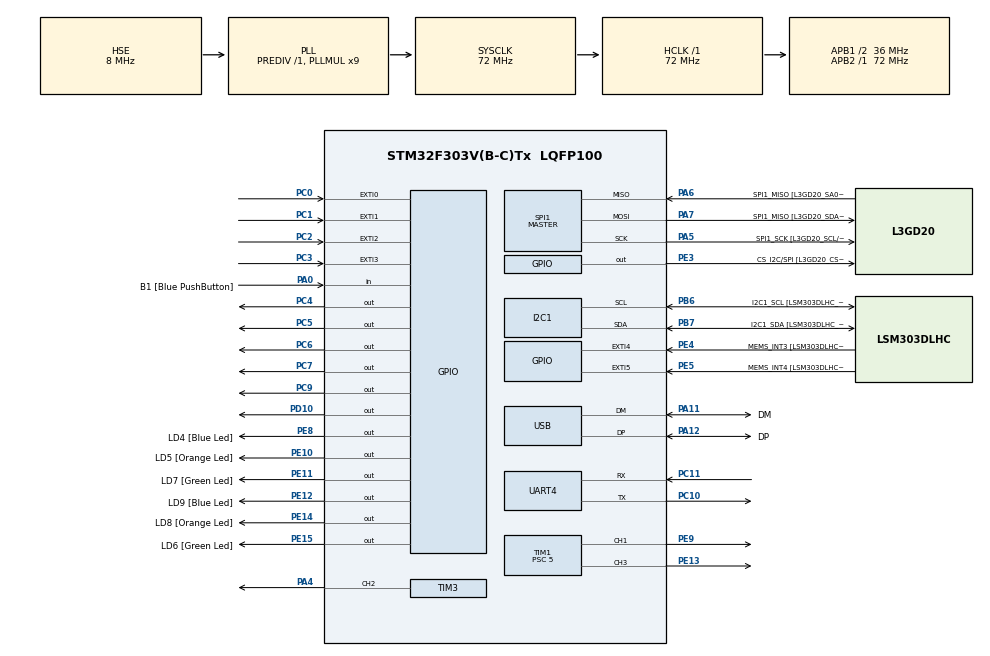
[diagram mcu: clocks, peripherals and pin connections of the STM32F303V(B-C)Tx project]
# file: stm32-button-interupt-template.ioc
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I2C1.Timing-I2C=0x2000090E
Mcu.Family=STM32F3
Mcu.Name=STM32F303V(B-C)Tx
Mcu.Package=LQFP100
NVIC.EXTI0_IRQn=true\:0\:1\:true\:false\:true\:true\:true\:true
NVIC.EXTI1_IRQn=true\:0\:2\:false\:false\:true\:true\:true\:true
NVIC.EXTI3_IRQn=true\:0\:5\:false\:false\:true\:true\:true\:true
NVIC.PriorityGroup=NVIC_PRIORITYGROUP_0
PA0.GPIO_Label=B1 [Blue PushButton]
PA0.Signal=GPIO_Input
PA11.GPIO_Label=DM
PA11.Mode=Device
PA11.Signal=USB_DM
PA12.GPIO_Label=DP
PA12.Mode=Device
PA12.Signal=USB_DP
PA13.GPIO_Label=SWDIO
PA13.Mode=Serial_Wire
PA13.Signal=SYS_JTMS-SWDIO
PA14.GPIO_Label=SWCLK
PA14.Mode=Serial_Wire
PA14.Signal=SYS_JTCK-SWCLK
PA4.Signal=S_TIM3_CH2
PA5.GPIO_Label=SPI1_SCK [L3GD20_SCL/SPC]
PA5.Mode=Full_Duplex_Master
PA5.Signal=SPI1_SCK
PA6.GPIO_Label=SPI1_MISO [L3GD20_SA0/SDO]
PA6.Mode=Full_Duplex_Master
PA6.Signal=SPI1_MISO
PA7.GPIO_Label=SPI1_MISO [L3GD20_SDA/SDI/SDO]
PA7.Mode=Full_Duplex_Master
PA7.Signal=SPI1_MOSI
PB3.GPIO_Label=SWO
PB3.Signal=SYS_JTDO-TRACESWO
PB6.GPIO_Label=I2C1_SCL [LSM303DLHC_SCL]
PB6.GPIO_Pu=GPIO_PULLUP
PB6.Mode=I2C
PB6.Signal=I2C1_SCL
PB7.GPIO_Label=I2C1_SDA [LSM303DLHC_SDA]
PB7.GPIO_Pu=GPIO_PULLUP
PB7.Mode=I2C
PB7.Signal=I2C1_SDA
PC0.GPIO_ModeDefaultEXTI=GPIO_MODE_IT_RISING
PC0.GPIO_PuPd=GPIO_PULLDOWN
PC0.Signal=GPXTI0
PC1.GPIO_ModeDefaultEXTI=GPIO_MODE_IT_RISING
PC1.GPIO_PuPd=GPIO_PULLDOWN
PC1.Signal=GPXTI1
PC10.Mode=Asynchronous
PC10.Signal=UART4_TX
PC11.Mode=Asynchronous
PC11.Signal=UART4_RX
PC14-OSC32_IN.GPIO_Label=OSC32_IN
PC14-OSC32_IN.Signal=RCC_OSC32_IN
PC15-OSC32_OUT.GPIO_Label=OSC32_OUT
PC15-OSC32_OUT.Signal=RCC_OSC32_OUT
PC2.GPIO_ModeDefaultEXTI=GPIO_MODE_IT_RISING
PC2.GPIO_PuPd=GPIO_PULLDOWN
PC2.Signal=GPXTI2
PC3.GPIO_ModeDefaultEXTI=GPIO_MODE_IT_RISING
PC3.GPIO_PuPd=GPIO_PULLDOWN
PC3.Signal=GPXTI3
PC4.PinState=GPIO_PIN_SET
PC4.Signal=GPIO_Output
PC5.PinState=GPIO_PIN_SET
PC5.Signal=GPIO_Output
PC6.PinState=GPIO_PIN_SET
PC6.Signal=GPIO_Output
PC7.PinState=GPIO_PIN_SET
PC7.Signal=GPIO_Output
PC9.Signal=GPIO_Output
PD10.GPIO_ModeDefaultOutputPP=GPIO_MODE_OUTPUT_OD
PD10.GPIO_PuPd=GPIO_NOPULL
PD10.PinState=GPIO_PIN_SET
PD10.Signal=GPIO_Output
PE10.GPIO_Label=LD5 [Orange Led]
PE10.Signal=GPIO_Output
PE11.GPIO_Label=LD7 [Green Led]
PE11.Signal=GPIO_Output
PE12.GPIO_Label=LD9 [Blue Led]
PE12.Signal=GPIO_Output
PE13.Signal=S_TIM1_CH3
PE14.GPIO_Label=LD8 [Orange Led]
PE14.Signal=GPIO_Output
PE15.GPIO_Label=LD6 [Green Led]
PE15.Signal=GPIO_Output
PE3.GPIO_Label=CS_I2C/SPI [L3GD20_CS_I2C/SPI]
PE3.Signal=GPIO_Output
PE4.GPIO_Label=MEMS_INT3 [LSM303DLHC_INT1]
PE4.GPIO_ModeDefaultEXTI=GPIO_MODE_EVT_RISING
PE4.Signal=GPXTI4
PE5.GPIO_Label=MEMS_INT4 [LSM303DLHC_INT2]
PE5.GPIO_ModeDefaultEXTI=GPIO_MODE_EVT_RISING
PE5.Signal=GPXTI5
PE8.GPIO_Label=LD4 [Blue Led]
PE8.Signal=GPIO_Output
PE9.Signal=S_TIM1_CH1
PF0-OSC_IN.GPIO_Label=OSC_IN
PF0-OSC_IN.Mode=HSE-External-Clock-Source
PF0-OSC_IN.Signal=RCC_OSC_IN
PF1-OSC_OUT.GPIO_Label=OSC_OUT
PF1-OSC_OUT.Signal=RCC_OSC_OUT
ProjectManager.HeapSize=0x200
ProjectManager.StackSize=0x400
ProjectManager.TargetToolchain=STM32CubeIDE
RCC.AHBFreq_Value=72000000
RCC.APB1CLKDivider=RCC_HCLK_DIV2
RCC.APB1Freq_Value=36000000
RCC.APB1TimFreq_Value=72000000
RCC.APB2Freq_Value=72000000
RCC.APB2TimFreq_Value=72000000
RCC.CortexFreq_Value=72000000
RCC.HCLKFreq_Value=72000000
RCC.HSE_VALUE=8000000
RCC.HSI_VALUE=8000000
RCC.LSE_VALUE=32768
RCC.PLLMUL=RCC_PLL_MUL9
RCC.PRESCALERUSB=RCC_USBCLKSOURCE_PLL_DIV1_5
RCC.SYSCLKFreq_VALUE=72000000
RCC.SYSCLKSourceVirtual=RCC_SYSCLKSOURCE_PLLCLK
RCC.USBFreq_Value=48000000
SH.S_TIM1_CH1.0=TIM1_CH1,PWM Generation1 CH1
SH.S_TIM1_CH3.0=TIM1_CH3,PWM Generation3 CH3
SH.S_TIM3_CH2.0=TIM3_CH2,PWM Generation2 CH2
SPI1.Direction=SPI_DIRECTION_2LINES
SPI1.Mode=SPI_MODE_MASTER
SPI1.VirtualType=VM_MASTER
TIM1.AutoReloadPreload=TIM_AUTORELOAD_PRELOAD_ENABLE
TIM1.Channel-PWM\ Generation1\ CH1=TIM_CHANNEL_1
TIM1.Channel-PWM\ Generation3\ CH3=TIM_CHANNEL_3
TIM1.Period=999
TIM1.Prescaler=5
TIM1.Pulse-PWM\ Generation1\ CH1=200
TIM1.Pulse-PWM\ Generation3\ CH3=800
TIM3.Channel-PWM\ Generation2\ CH2=TIM_CHANNEL_2
TIM3.Period=999
TIM3.Prescaler=47
TIM3.Pulse-PWM\ Generation2\ CH2=500
board=STM32F3DISCOVERY

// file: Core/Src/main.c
/* USER CODE BEGIN Header */
/**
  ******************************************************************************
  * @file           : main.c
  * @brief          : Main program body
  ******************************************************************************
  * @attention
  *
  * Copyright (c) 2023 STMicroelectronics.
  * All rights reserved.
  *
  * This software is licensed under terms that can be found in the LICENSE file
  * in the root directory of this software component.
  * If no LICENSE file comes with this software, it is provided AS-IS.
  *
  ******************************************************************************
  */
/* USER CODE END Header */
#include "main.h"

/* USER CODE BEGIN Includes */
#include "melody_1.h"
#include "melody_2.h"
#include "melody_3.h"
#include "melody_4.h"
/* USER CODE END Includes */

I2C_HandleTypeDef hi2c1;

SPI_HandleTypeDef hspi1;

TIM_HandleTypeDef htim1;
TIM_HandleTypeDef htim3;

UART_HandleTypeDef huart4;

PCD_HandleTypeDef hpcd_USB_FS;

/* USER CODE BEGIN PV */
int timeButton = 0;
int PUSHED_BUTTON;
float BRIGHTNESS1 = 0.5;
float BRIGHTNESS2 = 0.5;
/* USER CODE END PV */

void SystemClock_Config(void);
static void MX_GPIO_Init(void);
static void MX_I2C1_Init(void);
static void MX_SPI1_Init(void);
static void MX_USB_PCD_Init(void);
static void MX_UART4_Init(void);
static void MX_TIM1_Init(void);
static void MX_TIM3_Init(void);

/* USER CODE BEGIN 0 */

#ifndef __GNUC__
#error Unknown compilator
#else
#include <unistd.h>
int _write(int fd, const void *buf, size_t count) {
int res = 0;
if (fd == STDOUT_FILENO || fd == STDERR_FILENO) {
	// write data to UART
	HAL_StatusTypeDef hal_res = HAL_UART_Transmit(&huart4, (uint8_t*) buf, count, HAL_MAX_DELAY);
	res = hal_res == HAL_OK ? count : -1;
	} else {
		res = -1;
}
	return res;
}
#endif

int findPin(uint16_t GPIO_Pin){
	int res = 0;

	uint16_t pinSet = 0;

	HAL_GPIO_WritePin(GPIOC, GPIO_PIN_4 , GPIO_PIN_RESET);
	if(HAL_GPIO_ReadPin(GPIOC, GPIO_Pin) == GPIO_PIN_RESET){
		res = 1;
		pinSet = GPIO_PIN_4;
	}
	else {
	HAL_GPIO_WritePin(GPIOC, GPIO_PIN_5 , GPIO_PIN_RESET);
	if(HAL_GPIO_ReadPin(GPIOC, GPIO_Pin) == GPIO_PIN_RESET){
		res = 2;
		pinSet = GPIO_PIN_5;
		}
		else {
		HAL_GPIO_WritePin(GPIOC, GPIO_PIN_6 , GPIO_PIN_RESET);
		if(HAL_GPIO_ReadPin(GPIOC, GPIO_Pin) == GPIO_PIN_RESET){
			res = 3;
			pinSet = GPIO_PIN_6;
			}
		else {
			HAL_GPIO_WritePin(GPIOC, GPIO_PIN_7 , GPIO_PIN_RESET);
			if(HAL_GPIO_ReadPin(GPIOC, GPIO_Pin) == GPIO_PIN_RESET){
				res = 4;
				pinSet = GPIO_PIN_7;
				}
			}
		}
	}

	HAL_GPIO_WritePin(GPIOC, GPIO_PIN_4 , GPIO_PIN_SET);
	HAL_GPIO_WritePin(GPIOC, GPIO_PIN_5 , GPIO_PIN_SET);
	HAL_GPIO_WritePin(GPIOC, GPIO_PIN_6 , GPIO_PIN_SET);
	HAL_GPIO_WritePin(GPIOC, GPIO_PIN_7 , GPIO_PIN_SET);

	return res;
}

void HAL_GPIO_EXTI_Callback(uint16_t GPIO_Pin) {
//
// Входной аргумент GPIO_Pin представляет из себябитовую
// маску с номером пина, откуда пришло прерывание.
// Его значение равно одной из следующих констант:
// - GPIO_PIN_0
// - GPIO_PIN_1
// - GPIO_PIN_2
// - GPIO_PIN_3
// Определим тип события (кнопка нажата или отпущена).
// Для этого просто считаем ее состояние.+
	if(HAL_GetTick() - timeButton < 300){
		return;
	}
	else
		timeButton = HAL_GetTick();
	uint16_t currentValue = HAL_GPIO_ReadPin(GPIOC, GPIO_Pin);
	if(currentValue == GPIO_PIN_RESET)
		return;
	//Фильтруем переходной процесс
	uint16_t newValue = 0;
	int timeout = 10;
	while(timeout > 0){
		 for(int i = 0, j = 1000; i < 1000; i++)
			j = i - 1;
		timeout--;
		if(newValue != currentValue){

		}
		else
			break;
		newValue = HAL_GPIO_ReadPin(GPIOC, GPIO_Pin);
	}

	//=====================================
	int btn_state = newValue;

	int res = 0;

	int displayNum ;
	//int displayNum = findPin(GPIO_Pin);

	switch(GPIO_Pin){
		case(GPIO_PIN_0):
			res = 0;
			break;
		case(GPIO_PIN_1):
				res = 1;
				break;
		case(GPIO_PIN_2):
				res = 2;
				break;
		case(GPIO_PIN_3):
				res = 3;
				break;
		default:
			res = -1;
			break;
	}
	int row = findPin(GPIO_Pin);
	if(!row || HAL_GPIO_ReadPin(GPIOC, GPIO_Pin) == GPIO_PIN_RESET)
		return;
    displayNum = 4*res + row;
	//HAL_GPIO_WritePin(GPIOE, 0xFF00, GPIO_PIN_RESET);
    //HAL_GPIO_WritePin(GPIOE, (uint8_t)displayNum << 8, GPIO_PIN_SET);
	char msg[64];
	char info[] = "Pressed button S";
	snprintf(msg, sizeof(msg), "%i", displayNum);
	HAL_UART_Transmit(&huart4, (uint8_t*)info, strlen(info), 10);
	HAL_UART_Transmit(&huart4, (uint8_t*)msg, strlen(msg), 10);
	HAL_UART_Transmit(&huart4, (uint8_t*)"\r\n", 2, 10);
	PUSHED_BUTTON = displayNum;
return;
}
void reload_tim(uint32_t tim_led_cnt_tick_freq, TIM_HandleTypeDef *tim_led,    uint32_t tim_led_channel, float bright){
	uint32_t arr_value;
	uint32_t cc_value;
	arr_value = tim_led_cnt_tick_freq / 2000 - 1;
	cc_value = (arr_value + 1) * bright;
	__HAL_TIM_SET_AUTORELOAD(tim_led, arr_value);
	__HAL_TIM_SET_COMPARE(tim_led, tim_led_channel, cc_value);
}
int play_melody(int num){
	int melody_length = 0;
	uint16_t *freq;
	uint32_t cc_value_3;
	uint32_t arr_value_3;
	TIM_HandleTypeDef *tim_music = &htim3;
	uint32_t tim_melody_channel = TIM_CHANNEL_2;
	uint32_t tim_led_cnt_tick_freq_3;
	uint16_t *durations;
	HAL_UART_Transmit(&huart4, "Playing\n", 8, HAL_MAX_DELAY);

	tim_led_cnt_tick_freq_3 = SystemCoreClock;
	switch (__HAL_TIM_GET_CLOCKDIVISION(tim_music)) {
		case TIM_CLOCKDIVISION_DIV1:
			tim_led_cnt_tick_freq_3 /= 1;
		   	break;
		case TIM_CLOCKDIVISION_DIV2:
			tim_led_cnt_tick_freq_3 /= 2;
			break;
		case TIM_CLOCKDIVISION_DIV4:
			tim_led_cnt_tick_freq_3 /= 4;
			break;
	   }
	tim_led_cnt_tick_freq_3 /= (tim_music->Instance->PSC + 1);
	switch(num){
	case 1:
		freq = MELODY_1_FREQUENCIES;
		durations = MELODY_1_DURATIONS;
		melody_length = MELODY_1_LEN;
		break;
	case 2:
		freq = MELODY_2_FREQUENCIES;
		durations = MELODY_2_DURATIONS;
		melody_length = MELODY_2_LEN;
		break;
	case 3:
		freq = MELODY_3_FREQUENCIES;
		durations = MELODY_3_DURATIONS;
		melody_length = MELODY_3_LEN;
		break;
	case 4:
		freq = MELODY_4_FREQUENCIES;
		durations = MELODY_4_DURATIONS;
		melody_length = MELODY_4_LEN;
		break;
	default :
		return 1;
	}
	PUSHED_BUTTON = -1;
	for(int i = 0; i < melody_length;i++){
		if(PUSHED_BUTTON > 0)
			return 1;
	    arr_value_3 = tim_led_cnt_tick_freq_3 / *(freq + i) - 1;
	    cc_value_3 = (arr_value_3 + 1) * 0.5;
	    __HAL_TIM_SET_AUTORELOAD(tim_music, arr_value_3);
	    __HAL_TIM_SET_COMPARE(tim_music, tim_melody_channel, cc_value_3);
	    HAL_Delay(*(durations + i));
	}
	return 0;
}
/* USER CODE END 0 */

int main(void)
{

  /* MCU Configuration--------------------------------------------------------*/

  /* Reset of all peripherals, Initializes the Flash interface and the Systick. */
  HAL_Init();

  /* Configure the system clock */
  SystemClock_Config();

  /* Initialize all configured peripherals */
  MX_GPIO_Init();
  MX_I2C1_Init();
  MX_SPI1_Init();
  MX_USB_PCD_Init();
  MX_UART4_Init();
  MX_TIM1_Init();
  MX_TIM3_Init();
  /* USER CODE BEGIN 2 */
  // local variable with pointer to timer struct
   TIM_HandleTypeDef *tim_led = &htim1;
   TIM_HandleTypeDef *tim_music = &htim3;
   // timer channel
   uint32_t tim_led_channel = TIM_CHANNEL_1;
   uint32_t tim_led2_channel = TIM_CHANNEL_3;
   uint32_t tim_melody_channel = TIM_CHANNEL_2;
   // timer tick frequency CNT
   uint32_t tim_led_cnt_tick_freq;
   uint32_t tim_led_cnt_tick_freq_2;
   uint32_t tim_led_cnt_tick_freq_3;
   // helper variables for timer parameters calculations
   uint32_t arr_value;
   uint32_t cc_value;
   uint32_t arr_value_2;
   uint32_t cc_value_2;
   uint32_t arr_value_3;
   uint32_t cc_value_3;
   // reset CCR register
   __HAL_TIM_SET_COMPARE(tim_led, tim_led_channel, 0);
   // run timer
   HAL_TIM_PWM_Start(tim_led, tim_led_channel);
   HAL_TIM_PWM_Start(tim_led, tim_led2_channel);

   // calculate timer tick frequency: f_tick = f_sysclcock / (CDK * (PSK + 1))
   tim_led_cnt_tick_freq = SystemCoreClock;
   switch (__HAL_TIM_GET_CLOCKDIVISION(tim_led)) {
	   case TIM_CLOCKDIVISION_DIV1:
		   tim_led_cnt_tick_freq /= 1;
	   	   break;
	   case TIM_CLOCKDIVISION_DIV2:
		   tim_led_cnt_tick_freq /= 2;
		   break;
	   case TIM_CLOCKDIVISION_DIV4:
		   tim_led_cnt_tick_freq /= 4;
		   break;
   }
   tim_led_cnt_tick_freq /= (tim_led->Instance->PSC + 1);

   tim_led_cnt_tick_freq_2 = SystemCoreClock;
   switch (__HAL_TIM_GET_CLOCKDIVISION(tim_music)) {
	   case TIM_CLOCKDIVISION_DIV1:
		   tim_led_cnt_tick_freq_2 /= 1;
	   	   break;
	   case TIM_CLOCKDIVISION_DIV2:
		   tim_led_cnt_tick_freq_2 /= 2;
		   break;
	   case TIM_CLOCKDIVISION_DIV4:
		   tim_led_cnt_tick_freq_2 /= 4;
		   break;
   }
   tim_led_cnt_tick_freq_2 /= (tim_music->Instance->PSC + 1);
   // PWM signal
    // frequency: 2000 Hz
    // duty cycle: 0.2
    arr_value = tim_led_cnt_tick_freq / 2000 - 1;
    cc_value = (arr_value + 1) * BRIGHTNESS1;
    __HAL_TIM_SET_AUTORELOAD(tim_led, arr_value);
    __HAL_TIM_SET_COMPARE(tim_led, tim_led_channel, cc_value);

    cc_value_2 = (arr_value + 1) * BRIGHTNESS2;
    __HAL_TIM_SET_AUTORELOAD(tim_led, arr_value);
    __HAL_TIM_SET_COMPARE(tim_led, tim_led2_channel, cc_value_2);

    arr_value_3 = tim_led_cnt_tick_freq_3 / 1 - 1;
    cc_value_3 = (arr_value + 1) * 0.5;
    __HAL_TIM_SET_AUTORELOAD(tim_music, arr_value_3);
    __HAL_TIM_SET_COMPARE(tim_music, tim_melody_channel, cc_value_3);

  /* USER CODE END 2 */

  /* Infinite loop */
  while (1)
  {
	  switch(PUSHED_BUTTON){
	  case 1:
		  if(BRIGHTNESS1 < 0.89){
			  BRIGHTNESS1 += 0.1;
			  reload_tim(tim_led_cnt_tick_freq, tim_led, tim_led_channel, BRIGHTNESS1);
		  }
		  break;
	  case 2:
		  if(BRIGHTNESS1 > 0.11){
			  BRIGHTNESS1 = BRIGHTNESS1 - 0.1;
			  reload_tim(tim_led_cnt_tick_freq, tim_led, tim_led_channel, BRIGHTNESS2);
		  }
		  break;
	  case 3:
		  if(BRIGHTNESS2 < 0.89){
			  BRIGHTNESS2 += 0.1;
			  reload_tim(tim_led_cnt_tick_freq_2, tim_led, tim_led2_channel, BRIGHTNESS2);
		  }
		  break;
	  case 4:
		  if(BRIGHTNESS2 > 0.21){
			  BRIGHTNESS2 = BRIGHTNESS1 - 0.1;
			  reload_tim(tim_led_cnt_tick_freq_2, tim_led, tim_led2_channel, BRIGHTNESS2);
		  }
		  break;
	  case 5:
		  if(play_melody(1))
			  continue;
		  break;
	  case 6:
		  if(play_melody(2))
			  continue;
		  break;
	  case 7:
		  if(play_melody(3))
			  continue;
		  break;
	  case 8:
		  if(play_melody(4))
			  continue;
		  break;
	  default:
		  break;
	  }
	  PUSHED_BUTTON = -1;
  }
}

void SystemClock_Config(void)
{
  RCC_OscInitTypeDef RCC_OscInitStruct = {0};
  RCC_ClkInitTypeDef RCC_ClkInitStruct = {0};
  RCC_PeriphCLKInitTypeDef PeriphClkInit = {0};

  /** Initializes the RCC Oscillators according to the specified parameters
  * in the RCC_OscInitTypeDef structure.
  */
  RCC_OscInitStruct.OscillatorType = RCC_OSCILLATORTYPE_HSI|RCC_OSCILLATORTYPE_HSE;
  RCC_OscInitStruct.HSEState = RCC_HSE_BYPASS;
  RCC_OscInitStruct.HSEPredivValue = RCC_HSE_PREDIV_DIV1;
  RCC_OscInitStruct.HSIState = RCC_HSI_ON;
  RCC_OscInitStruct.HSICalibrationValue = RCC_HSICALIBRATION_DEFAULT;
  RCC_OscInitStruct.PLL.PLLState = RCC_PLL_ON;
  RCC_OscInitStruct.PLL.PLLSource = RCC_PLLSOURCE_HSE;
  RCC_OscInitStruct.PLL.PLLMUL = RCC_PLL_MUL9;
  if (HAL_RCC_OscConfig(&RCC_OscInitStruct) != HAL_OK)
  {
    Error_Handler();
  }

  /** Initializes the CPU, AHB and APB buses clocks
  */
  RCC_ClkInitStruct.ClockType = RCC_CLOCKTYPE_HCLK|RCC_CLOCKTYPE_SYSCLK
                              |RCC_CLOCKTYPE_PCLK1|RCC_CLOCKTYPE_PCLK2;
  RCC_ClkInitStruct.SYSCLKSource = RCC_SYSCLKSOURCE_PLLCLK;
  RCC_ClkInitStruct.AHBCLKDivider = RCC_SYSCLK_DIV1;
  RCC_ClkInitStruct.APB1CLKDivider = RCC_HCLK_DIV2;
  RCC_ClkInitStruct.APB2CLKDivider = RCC_HCLK_DIV1;

  if (HAL_RCC_ClockConfig(&RCC_ClkInitStruct, FLASH_LATENCY_2) != HAL_OK)
  {
    Error_Handler();
  }
  PeriphClkInit.PeriphClockSelection = RCC_PERIPHCLK_USB|RCC_PERIPHCLK_UART4
                              |RCC_PERIPHCLK_I2C1|RCC_PERIPHCLK_TIM1;
  PeriphClkInit.Uart4ClockSelection = RCC_UART4CLKSOURCE_PCLK1;
  PeriphClkInit.I2c1ClockSelection = RCC_I2C1CLKSOURCE_HSI;
  PeriphClkInit.USBClockSelection = RCC_USBCLKSOURCE_PLL_DIV1_5;
  PeriphClkInit.Tim1ClockSelection = RCC_TIM1CLK_HCLK;
  if (HAL_RCCEx_PeriphCLKConfig(&PeriphClkInit) != HAL_OK)
  {
    Error_Handler();
  }
}

static void MX_I2C1_Init(void)
{

  hi2c1.Instance = I2C1;
  hi2c1.Init.Timing = 0x2000090E;
  hi2c1.Init.OwnAddress1 = 0;
  hi2c1.Init.AddressingMode = I2C_ADDRESSINGMODE_7BIT;
  hi2c1.Init.DualAddressMode = I2C_DUALADDRESS_DISABLE;
  hi2c1.Init.OwnAddress2 = 0;
  hi2c1.Init.OwnAddress2Masks = I2C_OA2_NOMASK;
  hi2c1.Init.GeneralCallMode = I2C_GENERALCALL_DISABLE;
  hi2c1.Init.NoStretchMode = I2C_NOSTRETCH_DISABLE;
  if (HAL_I2C_Init(&hi2c1) != HAL_OK)
  {
    Error_Handler();
  }

  /** Configure Analogue filter
  */
  if (HAL_I2CEx_ConfigAnalogFilter(&hi2c1, I2C_ANALOGFILTER_ENABLE) != HAL_OK)
  {
    Error_Handler();
  }

  /** Configure Digital filter
  */
  if (HAL_I2CEx_ConfigDigitalFilter(&hi2c1, 0) != HAL_OK)
  {
    Error_Handler();
  }

}

static void MX_SPI1_Init(void)
{

  /* SPI1 parameter configuration*/
  hspi1.Instance = SPI1;
  hspi1.Init.Mode = SPI_MODE_MASTER;
  hspi1.Init.Direction = SPI_DIRECTION_2LINES;
  hspi1.Init.DataSize = SPI_DATASIZE_4BIT;
  hspi1.Init.CLKPolarity = SPI_POLARITY_LOW;
  hspi1.Init.CLKPhase = SPI_PHASE_1EDGE;
  hspi1.Init.NSS = SPI_NSS_SOFT;
  hspi1.Init.BaudRatePrescaler = SPI_BAUDRATEPRESCALER_2;
  hspi1.Init.FirstBit = SPI_FIRSTBIT_MSB;
  hspi1.Init.TIMode = SPI_TIMODE_DISABLE;
  hspi1.Init.CRCCalculation = SPI_CRCCALCULATION_DISABLE;
  hspi1.Init.CRCPolynomial = 7;
  hspi1.Init.CRCLength = SPI_CRC_LENGTH_DATASIZE;
  hspi1.Init.NSSPMode = SPI_NSS_PULSE_ENABLE;
  if (HAL_SPI_Init(&hspi1) != HAL_OK)
  {
    Error_Handler();
  }

}

static void MX_TIM1_Init(void)
{

  TIM_MasterConfigTypeDef sMasterConfig = {0};
  TIM_OC_InitTypeDef sConfigOC = {0};
  TIM_BreakDeadTimeConfigTypeDef sBreakDeadTimeConfig = {0};

  htim1.Instance = TIM1;
  htim1.Init.Prescaler = 5;
  htim1.Init.CounterMode = TIM_COUNTERMODE_UP;
  htim1.Init.Period = 999;
  htim1.Init.ClockDivision = TIM_CLOCKDIVISION_DIV1;
  htim1.Init.RepetitionCounter = 0;
  htim1.Init.AutoReloadPreload = TIM_AUTORELOAD_PRELOAD_ENABLE;
  if (HAL_TIM_PWM_Init(&htim1) != HAL_OK)
  {
    Error_Handler();
  }
  sMasterConfig.MasterOutputTrigger = TIM_TRGO_RESET;
  sMasterConfig.MasterOutputTrigger2 = TIM_TRGO2_RESET;
  sMasterConfig.MasterSlaveMode = TIM_MASTERSLAVEMODE_DISABLE;
  if (HAL_TIMEx_MasterConfigSynchronization(&htim1, &sMasterConfig) != HAL_OK)
  {
    Error_Handler();
  }
  sConfigOC.OCMode = TIM_OCMODE_PWM1;
  sConfigOC.Pulse = 200;
  sConfigOC.OCPolarity = TIM_OCPOLARITY_HIGH;
  sConfigOC.OCNPolarity = TIM_OCNPOLARITY_HIGH;
  sConfigOC.OCFastMode = TIM_OCFAST_DISABLE;
  sConfigOC.OCIdleState = TIM_OCIDLESTATE_RESET;
  sConfigOC.OCNIdleState = TIM_OCNIDLESTATE_RESET;
  if (HAL_TIM_PWM_ConfigChannel(&htim1, &sConfigOC, TIM_CHANNEL_1) != HAL_OK)
  {
    Error_Handler();
  }
  sConfigOC.Pulse = 800;
  if (HAL_TIM_PWM_ConfigChannel(&htim1, &sConfigOC, TIM_CHANNEL_3) != HAL_OK)
  {
    Error_Handler();
  }
  sBreakDeadTimeConfig.OffStateRunMode = TIM_OSSR_DISABLE;
  sBreakDeadTimeConfig.OffStateIDLEMode = TIM_OSSI_DISABLE;
  sBreakDeadTimeConfig.LockLevel = TIM_LOCKLEVEL_OFF;
  sBreakDeadTimeConfig.DeadTime = 0;
  sBreakDeadTimeConfig.BreakState = TIM_BREAK_DISABLE;
  sBreakDeadTimeConfig.BreakPolarity = TIM_BREAKPOLARITY_HIGH;
  sBreakDeadTimeConfig.BreakFilter = 0;
  sBreakDeadTimeConfig.Break2State = TIM_BREAK2_DISABLE;
  sBreakDeadTimeConfig.Break2Polarity = TIM_BREAK2POLARITY_HIGH;
  sBreakDeadTimeConfig.Break2Filter = 0;
  sBreakDeadTimeConfig.AutomaticOutput = TIM_AUTOMATICOUTPUT_DISABLE;
  if (HAL_TIMEx_ConfigBreakDeadTime(&htim1, &sBreakDeadTimeConfig) != HAL_OK)
  {
    Error_Handler();
  }
  HAL_TIM_MspPostInit(&htim1);

}

static void MX_TIM3_Init(void)
{

  TIM_MasterConfigTypeDef sMasterConfig = {0};
  TIM_OC_InitTypeDef sConfigOC = {0};

  htim3.Instance = TIM3;
  htim3.Init.Prescaler = 47;
  htim3.Init.CounterMode = TIM_COUNTERMODE_UP;
  htim3.Init.Period = 999;
  htim3.Init.ClockDivision = TIM_CLOCKDIVISION_DIV1;
  htim3.Init.AutoReloadPreload = TIM_AUTORELOAD_PRELOAD_DISABLE;
  if (HAL_TIM_PWM_Init(&htim3) != HAL_OK)
  {
    Error_Handler();
  }
  sMasterConfig.MasterOutputTrigger = TIM_TRGO_RESET;
  sMasterConfig.MasterSlaveMode = TIM_MASTERSLAVEMODE_DISABLE;
  if (HAL_TIMEx_MasterConfigSynchronization(&htim3, &sMasterConfig) != HAL_OK)
  {
    Error_Handler();
  }
  sConfigOC.OCMode = TIM_OCMODE_PWM1;
  sConfigOC.Pulse = 500;
  sConfigOC.OCPolarity = TIM_OCPOLARITY_HIGH;
  sConfigOC.OCFastMode = TIM_OCFAST_DISABLE;
  if (HAL_TIM_PWM_ConfigChannel(&htim3, &sConfigOC, TIM_CHANNEL_2) != HAL_OK)
  {
    Error_Handler();
  }
  HAL_TIM_MspPostInit(&htim3);

}

static void MX_UART4_Init(void)
{

  huart4.Instance = UART4;
  huart4.Init.BaudRate = 115200;
  huart4.Init.WordLength = UART_WORDLENGTH_8B;
  huart4.Init.StopBits = UART_STOPBITS_1;
  huart4.Init.Parity = UART_PARITY_NONE;
  huart4.Init.Mode = UART_MODE_TX_RX;
  huart4.Init.HwFlowCtl = UART_HWCONTROL_NONE;
  huart4.Init.OverSampling = UART_OVERSAMPLING_16;
  huart4.Init.OneBitSampling = UART_ONE_BIT_SAMPLE_DISABLE;
  huart4.AdvancedInit.AdvFeatureInit = UART_ADVFEATURE_NO_INIT;
  if (HAL_UART_Init(&huart4) != HAL_OK)
  {
    Error_Handler();
  }

}

static void MX_USB_PCD_Init(void)
{

  hpcd_USB_FS.Instance = USB;
  hpcd_USB_FS.Init.dev_endpoints = 8;
  hpcd_USB_FS.Init.speed = PCD_SPEED_FULL;
  hpcd_USB_FS.Init.phy_itface = PCD_PHY_EMBEDDED;
  hpcd_USB_FS.Init.low_power_enable = DISABLE;
  hpcd_USB_FS.Init.battery_charging_enable = DISABLE;
  if (HAL_PCD_Init(&hpcd_USB_FS) != HAL_OK)
  {
    Error_Handler();
  }

}

static void MX_GPIO_Init(void)
{
  GPIO_InitTypeDef GPIO_InitStruct = {0};

  /* GPIO Ports Clock Enable */
  __HAL_RCC_GPIOE_CLK_ENABLE();
  __HAL_RCC_GPIOC_CLK_ENABLE();
  __HAL_RCC_GPIOF_CLK_ENABLE();
  __HAL_RCC_GPIOA_CLK_ENABLE();
  __HAL_RCC_GPIOD_CLK_ENABLE();
  __HAL_RCC_GPIOB_CLK_ENABLE();

  /*Configure GPIO pin Output Level */
  HAL_GPIO_WritePin(GPIOE, CS_I2C_SPI_Pin|LD4_Pin|LD5_Pin|LD7_Pin
                          |LD9_Pin|LD8_Pin|LD6_Pin, GPIO_PIN_RESET);

  /*Configure GPIO pin Output Level */
  HAL_GPIO_WritePin(GPIOC, GPIO_PIN_4|GPIO_PIN_5|GPIO_PIN_6|GPIO_PIN_7, GPIO_PIN_SET);

  /*Configure GPIO pin Output Level */
  HAL_GPIO_WritePin(GPIOD, GPIO_PIN_10, GPIO_PIN_SET);

  /*Configure GPIO pin Output Level */
  HAL_GPIO_WritePin(GPIOC, GPIO_PIN_9, GPIO_PIN_RESET);

  /*Configure GPIO pins : CS_I2C_SPI_Pin LD4_Pin LD5_Pin LD7_Pin
                           LD9_Pin LD8_Pin LD6_Pin */
  GPIO_InitStruct.Pin = CS_I2C_SPI_Pin|LD4_Pin|LD5_Pin|LD7_Pin
                          |LD9_Pin|LD8_Pin|LD6_Pin;
  GPIO_InitStruct.Mode = GPIO_MODE_OUTPUT_PP;
  GPIO_InitStruct.Pull = GPIO_NOPULL;
  GPIO_InitStruct.Speed = GPIO_SPEED_FREQ_LOW;
  HAL_GPIO_Init(GPIOE, &GPIO_InitStruct);

  /*Configure GPIO pins : MEMS_INT3_Pin MEMS_INT4_Pin */
  GPIO_InitStruct.Pin = MEMS_INT3_Pin|MEMS_INT4_Pin;
  GPIO_InitStruct.Mode = GPIO_MODE_EVT_RISING;
  GPIO_InitStruct.Pull = GPIO_NOPULL;
  HAL_GPIO_Init(GPIOE, &GPIO_InitStruct);

  /*Configure GPIO pins : PC0 PC1 PC2 PC3 */
  GPIO_InitStruct.Pin = GPIO_PIN_0|GPIO_PIN_1|GPIO_PIN_2|GPIO_PIN_3;
  GPIO_InitStruct.Mode = GPIO_MODE_IT_RISING;
  GPIO_InitStruct.Pull = GPIO_PULLDOWN;
  HAL_GPIO_Init(GPIOC, &GPIO_InitStruct);

  /*Configure GPIO pin : B1_Pin */
  GPIO_InitStruct.Pin = B1_Pin;
  GPIO_InitStruct.Mode = GPIO_MODE_INPUT;
  GPIO_InitStruct.Pull = GPIO_NOPULL;
  HAL_GPIO_Init(B1_GPIO_Port, &GPIO_InitStruct);

  /*Configure GPIO pins : PC4 PC5 PC6 PC7
                           PC9 */
  GPIO_InitStruct.Pin = GPIO_PIN_4|GPIO_PIN_5|GPIO_PIN_6|GPIO_PIN_7
                          |GPIO_PIN_9;
  GPIO_InitStruct.Mode = GPIO_MODE_OUTPUT_PP;
  GPIO_InitStruct.Pull = GPIO_NOPULL;
  GPIO_InitStruct.Speed = GPIO_SPEED_FREQ_LOW;
  HAL_GPIO_Init(GPIOC, &GPIO_InitStruct);

  /*Configure GPIO pin : PD10 */
  GPIO_InitStruct.Pin = GPIO_PIN_10;
  GPIO_InitStruct.Mode = GPIO_MODE_OUTPUT_OD;
  GPIO_InitStruct.Pull = GPIO_NOPULL;
  GPIO_InitStruct.Speed = GPIO_SPEED_FREQ_LOW;
  HAL_GPIO_Init(GPIOD, &GPIO_InitStruct);

  /* EXTI interrupt init*/
  HAL_NVIC_SetPriority(EXTI0_IRQn, 0, 1);
  HAL_NVIC_EnableIRQ(EXTI0_IRQn);

  HAL_NVIC_SetPriority(EXTI1_IRQn, 0, 2);
  HAL_NVIC_EnableIRQ(EXTI1_IRQn);

  HAL_NVIC_SetPriority(EXTI3_IRQn, 0, 5);
  HAL_NVIC_EnableIRQ(EXTI3_IRQn);

}

void Error_Handler(void)
{
  __disable_irq();
  while (1)
  {
  }
}
